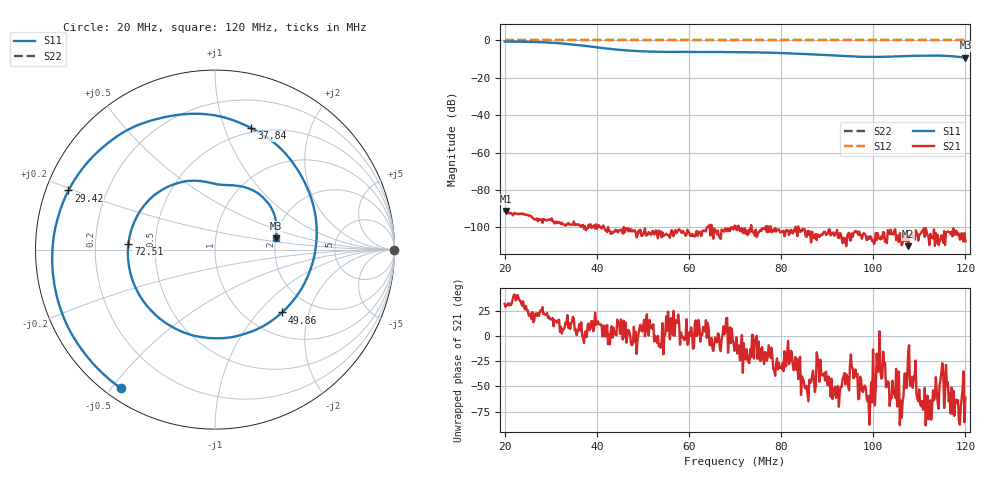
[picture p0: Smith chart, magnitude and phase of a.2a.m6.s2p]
! Anritsu VNA Master:  Model: MS2036C/10/77
! SN:  1601066
! /bd0/18may09/252.ew.m6.s2p
! Existing Calibration Information:
! TYPE:  Current Settings,  Active Cal Settings
! TIME:  05/09/2018 08:20:32 AM,  05/09/2018 08:17:55 AM
! INTERNAL TEMP:  41.3 C,  41.3 C
! # POINTS:  500,  500
! START FREQ:  20.000 MHz,  20.000 MHz
! STOP FREQ:  120.000 MHz,  120.000 MHz
! SOURCE POWER:  High,  High
! IFBW:  50 Hz,  50 Hz
! AVG FACTOR:  1 ,  1
! REF PLANE 1:  0 mm,  0 mm
! REF PLANE 2:  0 mm,  0 mm
! CAL TYPE:  Full S11,  Full S11
! CAL METHOD:  SOLT,  SOLT
! CAL LINE TYPE:  Coax,  Coax
! DUT PORT 1:  K-Conn(F),  K-Conn(F)
! DUT PORT 2:  K-Conn(F),  K-Conn(F)
! CAL STATUS:  OK: Accuracy High,  --
# GHZ S DB R 50.0
! FREQ.GHZ  S11DB  S11A  S21DB  S21A  S12DB  S12A  S22DB  S22A
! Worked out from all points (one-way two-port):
!   500 points, 20 MHz to 120 MHz, reference 50 ohm
!   highest |S21| = -91.24 dB at 20.2 MHz (marker M1); lowest = -110.0 dB at 107.6 MHz (marker M2)
!   lowest |S11| = -9.3 dB at 120 MHz (marker M3), VSWR 2.05, Z = 99.8 + j14.2 ohm
!   |S11| at or under -10 dB: nowhere
!   |S22| runs from 0.0 to 0.0 dB; largest |S21 - S12| = 1
!   S11 on the Smith chart (normalised r, x): 20 MHz: 0.04, -0.53; 29.42 MHz: 0.07, +0.19; 37.84 MHz: 0.46, +1.24; 49.86 MHz: 1.43, -1.36; 72.51 MHz: 0.35, +0.03; 120 MHz: 2.00, +0.28
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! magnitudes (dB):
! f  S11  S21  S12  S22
! 20 MHz  -0.6  -91.3  0.0  0.0
! 20.2 MHz  -0.6  -91.2  0.0  0.0
! 24.81 MHz  -0.7  -93.2  0.0  0.0
! 29.42 MHz  -1.1  -95.9  0.0  0.0
! 32.83 MHz  -1.7  -98.3  0.0  0.0
! 36.83 MHz  -2.7  -98.8  0.0  0.0
! 37.84 MHz  -3.0  -100.4  0.0  0.0
! 44.65 MHz  -5.0  -102.6  0.0  0.0
! 49.86 MHz  -5.8  -104.6  0.0  0.0
! 53.47 MHz  -6.1  -101.7  0.0  0.0
! 70.1 MHz  -6.2  -99.1  0.0  0.0
! 72.51 MHz  -6.3  -101.5  0.0  0.0
! 80.12 MHz  -6.7  -102.5  0.0  0.0
! 86.73 MHz  -7.5  -102.2  0.0  0.0
! 97.35 MHz  -8.7  -104.3  0.0  0.0
! 100.6 MHz  -8.8  -103.0  0.0  0.0
! 103.4 MHz  -8.7  -102.2  0.0  0.0
! 107.6 MHz  -8.3  -110.0  0.0  0.0
! 111.6 MHz  -8.1  -102.1  0.0  0.0
! 114.8 MHz  -8.1  -104.2  0.0  0.0
! 117.4 MHz  -8.5  -100.5  0.0  0.0
! 120 MHz  -9.3  -107.4  0.0  0.0
